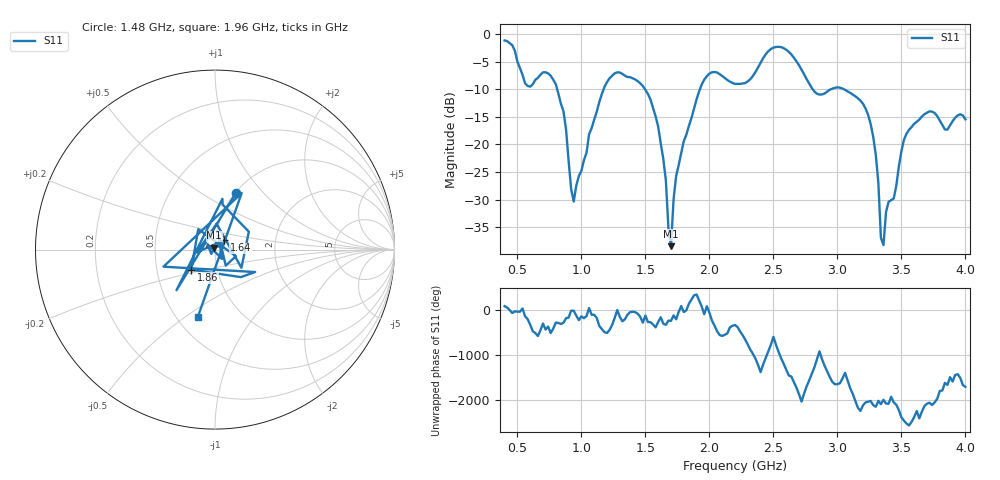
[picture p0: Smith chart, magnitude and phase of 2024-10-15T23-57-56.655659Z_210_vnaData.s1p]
! Created with skrf (http://scikit-rf.org).
# Hz S RI R 50.0
!freq ReS11 ImS11
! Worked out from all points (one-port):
!   181 points, 400 MHz to 4 GHz, reference 50 ohm
!   lowest |S11| = -38.4 dB at 1.7 GHz (marker M1), VSWR 1.02, Z = 49.6 + j1.12 ohm
!   |S11| at or under -10 dB: 810.5 MHz to 1.174 GHz (363.3 MHz wide, 36.6 % of centre); 1.496 GHz to 1.926 GHz (429.9 MHz wide, 25.1 % of centre); 3.049 GHz to end of sweep (the widest 3 of 4)
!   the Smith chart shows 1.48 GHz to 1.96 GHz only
!   S11 on the Smith chart (normalised r, x): 1.48 GHz: 1.01, +0.72; 1.64 GHz: 1.10, +0.12; 1.86 GHz: 0.75, -0.17; 1.96 GHz: 0.63, -0.56
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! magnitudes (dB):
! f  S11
! 400 MHz  -1.2
! 580 MHz  -9.4
! 760 MHz  -7.6
! 860 MHz  -14.0
! 940 MHz  -30.4
! 1.16 GHz  -10.9
! 1.3 GHz  -7.0
! 1.48 GHz  -9.4
! 1.58 GHz  -15.0
! 1.64 GHz  -22.7
! 1.7 GHz  -38.4
! 1.72 GHz  -30.0
! 1.76 GHz  -23.7
! 1.86 GHz  -15.2
! 1.96 GHz  -8.3
! 2.2 GHz  -9.1
! 2.5 GHz  -2.5
! 2.66 GHz  -4.3
! 2.84 GHz  -10.8
! 3.1 GHz  -10.7
! 3.26 GHz  -16.3
! 3.3 GHz  -21.9
! 3.34 GHz  -36.9
! 3.36 GHz  -38.3
! 3.38 GHz  -32.2
! 3.56 GHz  -17.4
! 3.72 GHz  -14.0
! 4 GHz  -15.5
